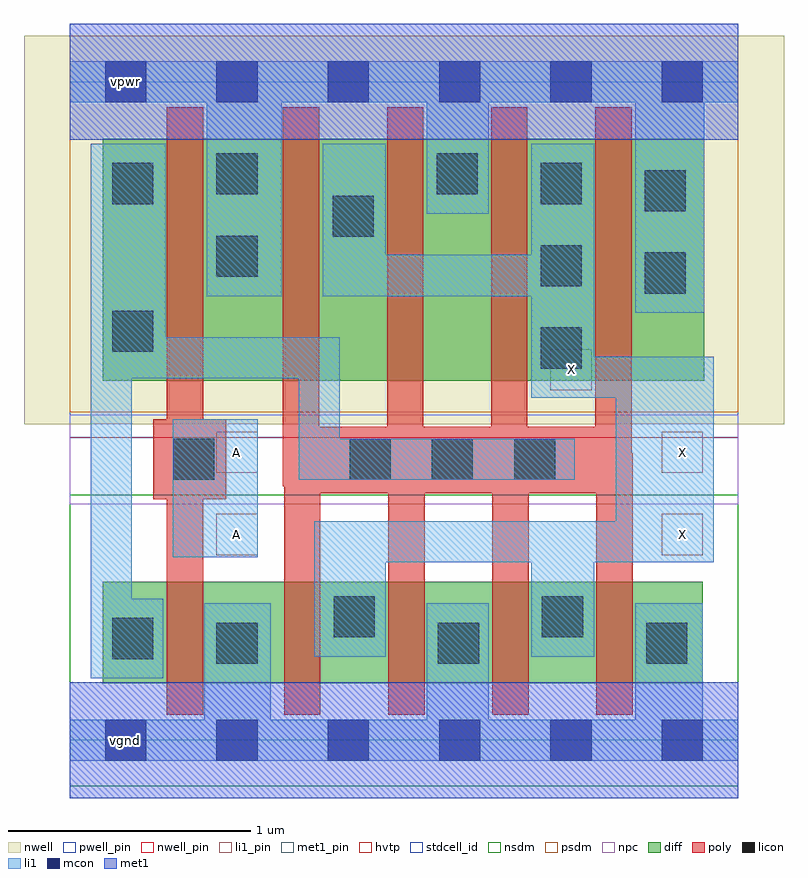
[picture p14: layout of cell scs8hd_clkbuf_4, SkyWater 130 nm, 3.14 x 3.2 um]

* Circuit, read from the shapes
.subckt scs8hd_clkbuf_4 A X vgnd vnb vpb vpwr
XM1 vgnd A n1 vnb sky130_fd_pr__nfet_01v8 w=0.42 l=0.15
XM2 X n1 vgnd vnb sky130_fd_pr__nfet_01v8 w=0.42 l=0.15 m=4
XM3 vpwr A n1 vpb sky130_fd_pr__pfet_01v8_hvt w=1 l=0.15
XM4 X n1 vpwr vpb sky130_fd_pr__pfet_01v8_hvt w=1 l=0.15 m=4
.ends

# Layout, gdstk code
import gdstk
lib = gdstk.Library(unit=1e-6, precision=1e-09)
def R(c, l, rs):  # rectangles x0, y0, x1, y1
    for r in rs: c.add(gdstk.rectangle(r[:2], r[2:], *l))
def A(c, l, x, y, w, h, nx, ny, dx, dy):  # array of equal rectangles
    R(c, l, [(x+i*dx, y+j*dy, x+i*dx+w, y+j*dy+h) for i in range(nx) for j in range(ny)])
def P(c, l, *ps):  # polygons
    for p in ps: c.add(gdstk.Polygon(p, *l))
nwell_pin = (64, 16)
nwell = (64, 20)
diff = (65, 20)
poly = (66, 20)
licon = (66, 44)
li1_pin = (67, 16)
li1 = (67, 20)
mcon = (67, 44)
met1_pin = (68, 16)
met1 = (68, 20)
hvtp = (78, 44)
stdcell_id = (81, 4)
nsdm = (93, 44)
psdm = (94, 20)
npc = (95, 20)
pwell_pin = (122, 16)

scs8hd_clkbuf_4 = lib.new_cell('scs8hd_clkbuf_4')
R(scs8hd_clkbuf_4, nwell_pin, [(0.145,2.635,0.315,2.805)])
R(scs8hd_clkbuf_4, nwell, [(-0.19,1.305,2.95,2.91)])
R(scs8hd_clkbuf_4, diff, [(0.135,0.235,2.615,0.655), (0.135,1.485,2.62,2.485)])
P(scs8hd_clkbuf_4, poly, [(2.325,1.185),(2.32,1.185),(2.32,2.615),(2.17,2.615),(2.17,1.295),(1.89,1.295),(1.89,2.615),(1.74,2.615),(1.74,1.295),(1.46,1.295),(1.46,2.615),(1.31,2.615),(1.31,1.295),(1.03,1.295),(1.03,2.615),(0.88,2.615),(0.88,1.05),(0.885,1.05),(0.885,0.105),(1.035,0.105),(1.035,1.02),(1.315,1.02),(1.315,0.105),(1.465,0.105),(1.465,1.02),(1.745,1.02),(1.745,0.105),(1.895,0.105),(1.895,1.02),(2.175,1.02),(2.175,0.105),(2.325,0.105)],
  [(0.645,1.325),(0.55,1.325),(0.55,2.615),(0.4,2.615),(0.4,1.325),(0.345,1.325),(0.345,0.995),(0.4,0.995),(0.4,0.105),(0.55,0.105),(0.55,0.995),(0.645,0.995)])
A(scs8hd_clkbuf_4, licon, 1.155, 1.075, 0.17, 0.17, 3, 1, 0.34, 0)
A(scs8hd_clkbuf_4, licon, 1.945, 1.535, 0.17, 0.17, 1, 3, 0, 0.34)
R(scs8hd_clkbuf_4, licon, [(0.605,0.315,0.775,0.485), (1.52,0.315,1.69,0.485), (2.38,0.315,2.55,0.485), (0.175,0.335,0.345,0.505), (1.09,0.425,1.26,0.595), (1.95,0.425,2.12,0.595), (0.425,1.075,0.595,1.245), (0.175,1.605,0.345,1.775), (2.375,1.845,2.545,2.015), (0.605,1.915,0.775,2.085), (1.085,2.08,1.255,2.25), (2.375,2.185,2.545,2.355), (0.175,2.215,0.345,2.385), (0.605,2.255,0.775,2.425), (1.515,2.255,1.685,2.425)])
R(scs8hd_clkbuf_4, li1_pin, [(0.605,0.765,0.775,0.935), (2.445,0.765,2.615,0.935), (0.605,1.105,0.775,1.275), (2.445,1.105,2.615,1.275), (1.985,1.445,2.155,1.615)])
R(scs8hd_clkbuf_4, li1, [(0.425,0.755,0.775,1.325)])
P(scs8hd_clkbuf_4, li1, [(2.76,0.085),(2.615,0.085),(2.615,0.565),(2.335,0.565),(2.335,0.085),(1.73,0.085),(1.73,0.565),(1.475,0.565),(1.475,0.085),(0.83,0.085),(0.83,0.565),(0.555,0.565),(0.555,0.085),(0,0.085),(0,-0.085),(2.76,-0.085)],
  [(2.66,1.585),(2.165,1.585),(2.165,2.465),(1.905,2.465),(1.905,2.005),(1.305,2.005),(1.305,2.465),(1.045,2.465),(1.045,1.835),(1.905,1.835),(1.905,1.415),(2.255,1.415),(2.255,0.905),(1.01,0.905),(1.01,0.345),(1.305,0.345),(1.305,0.735),(1.905,0.735),(1.905,0.345),(2.165,0.345),(2.165,0.735),(2.66,0.735)],
  [(2.085,1.245),(1.115,1.245),(1.115,1.665),(0.395,1.665),(0.395,2.465),(0.085,2.465),(0.085,0.255),(0.385,0.255),(0.385,0.585),(0.255,0.585),(0.255,1.495),(0.945,1.495),(0.945,1.075),(2.085,1.075)],
  [(2.76,2.805),(0,2.805),(0,2.635),(0.565,2.635),(0.565,1.835),(0.875,1.835),(0.875,2.635),(1.475,2.635),(1.475,2.175),(1.73,2.175),(1.73,2.635),(2.335,2.635),(2.335,1.765),(2.62,1.765),(2.62,2.635),(2.76,2.635)])
A(scs8hd_clkbuf_4, mcon, 0.145, -0.085, 0.17, 0.17, 6, 2, 0.46, 2.72)
R(scs8hd_clkbuf_4, met1_pin, [(0.145,-0.085,0.315,0.085), (0.145,2.635,0.315,2.805)])
R(scs8hd_clkbuf_4, hvtp, [(0,1.25,2.76,2.72)])
R(scs8hd_clkbuf_4, stdcell_id, [(0,0,2.76,2.72)])
R(scs8hd_clkbuf_4, nsdm, [(0,-0.19,2.76,1.015)])
R(scs8hd_clkbuf_4, psdm, [(0,1.355,2.76,2.91)])
R(scs8hd_clkbuf_4, npc, [(0,0.975,2.76,1.345)])
R(scs8hd_clkbuf_4, pwell_pin, [(0.145,-0.085,0.315,0.085)])
scs8hd_clkbuf_4.add(gdstk.FlexPath([(0,0),(2.76,0)], 0.48, ends="flush", simple_path=True, layer=68, datatype=20))  # met1
scs8hd_clkbuf_4.add(gdstk.FlexPath([(0,2.72),(2.76,2.72)], 0.48, ends="flush", simple_path=True, layer=68, datatype=20))  # met1
scs8hd_clkbuf_4.add(gdstk.Label('X', (2.07,1.53), layer=67, texttype=5))
scs8hd_clkbuf_4.add(gdstk.Label('A', (0.69,0.85), layer=67, texttype=5))
scs8hd_clkbuf_4.add(gdstk.Label('X', (2.53,0.85), layer=67, texttype=5))
scs8hd_clkbuf_4.add(gdstk.Label('A', (0.69,1.19), layer=67, texttype=5))
scs8hd_clkbuf_4.add(gdstk.Label('X', (2.53,1.19), layer=67, texttype=5))
scs8hd_clkbuf_4.add(gdstk.Label('vgnd', (0.23,0), layer=68, texttype=5))
scs8hd_clkbuf_4.add(gdstk.Label('vpwr', (0.23,2.72), layer=68, texttype=5))
scs8hd_clkbuf_4.add(gdstk.Label('vpb', (0.23,2.72), layer=64, texttype=5))
scs8hd_clkbuf_4.add(gdstk.Label('vnb', (0.23,0), layer=64, texttype=59))
scs8hd_clkbuf_4.add(gdstk.Label('scs8hd_clkbuf_4', (0,0), layer=83, texttype=44))

lib.write_gds('scs8hd_clkbuf_4.gds')
